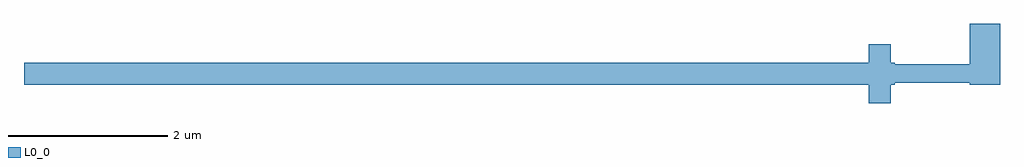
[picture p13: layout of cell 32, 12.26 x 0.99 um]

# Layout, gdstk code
import gdstk
lib = gdstk.Library(unit=1e-6, precision=1e-09)
def P(c, l, *ps):  # polygons
    for p in ps: c.add(gdstk.Polygon(p, *l))
L0_0 = (0, 0)

c_32 = lib.new_cell('32')
P(c_32, L0_0, [(973.64,958.02),(974.02,958.02),(974.02,957.74),(973.64,957.74),(973.64,958.02)],
  [(975.34,958.505),(975.34,957.74),(974.96,957.74),(974.96,958.505),(975.34,958.505)],
  [(973.715,957.995),(975.15,957.995),(975.15,957.765),(973.715,957.765),(973.715,957.995)],
  [(973.69,958.25),(973.97,958.25),(973.97,957.51),(973.69,957.51),(973.69,958.25)],
  [(973.64,958.02),(974.02,958.02),(974.02,957.74),(973.64,957.74),(973.64,958.02)],
  [(971,958.02),(971.38,958.02),(971.38,957.74),(971,957.74),(971,958.02)],
  [(973.64,958.02),(974.02,958.02),(974.02,957.74),(973.64,957.74),(973.64,958.02)],
  [(963.08,958.02),(963.46,958.02),(963.46,957.74),(963.08,957.74),(963.08,958.02)],
  [(971.05,958.02),(973.97,958.02),(973.97,957.74),(971.05,957.74),(971.05,958.02)],
  [(963.13,958.02),(971.33,958.02),(971.33,957.74),(963.13,957.74),(963.13,958.02)])

lib.write_gds('32.gds')
